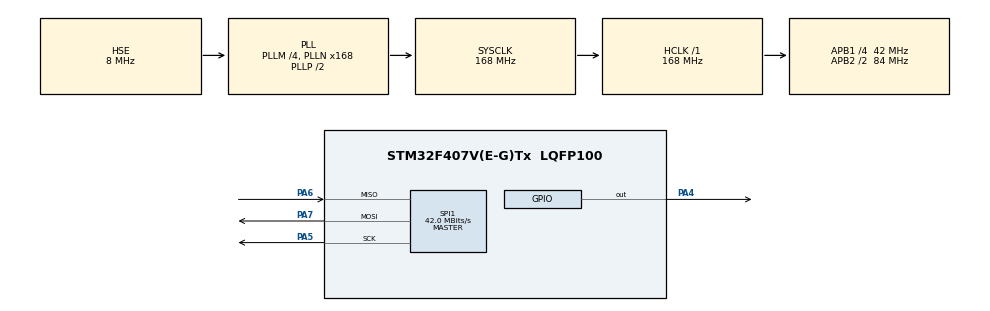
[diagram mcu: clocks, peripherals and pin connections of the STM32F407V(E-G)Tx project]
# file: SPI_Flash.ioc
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FATFS._MAX_SS=4096
Mcu.Family=STM32F4
Mcu.Name=STM32F407V(E-G)Tx
Mcu.Package=LQFP100
NVIC.PriorityGroup=NVIC_PRIORITYGROUP_4
PA13.Mode=Serial_Wire
PA13.Signal=SYS_JTMS-SWDIO
PA14.Mode=Serial_Wire
PA14.Signal=SYS_JTCK-SWCLK
PA4.Signal=GPIO_Output
PA5.Mode=Full_Duplex_Master
PA5.Signal=SPI1_SCK
PA6.Mode=Full_Duplex_Master
PA6.Signal=SPI1_MISO
PA7.Mode=Full_Duplex_Master
PA7.Signal=SPI1_MOSI
PH0-OSC_IN.Mode=HSE-External-Oscillator
PH0-OSC_IN.Signal=RCC_OSC_IN
PH1-OSC_OUT.Mode=HSE-External-Oscillator
PH1-OSC_OUT.Signal=RCC_OSC_OUT
ProjectManager.HeapSize=0x200
ProjectManager.StackSize=0x400
ProjectManager.TargetToolchain=STM32CubeIDE
RCC.48MHZClocksFreq_Value=84000000
RCC.AHBFreq_Value=168000000
RCC.APB1CLKDivider=RCC_HCLK_DIV4
RCC.APB1Freq_Value=42000000
RCC.APB1TimFreq_Value=84000000
RCC.APB2CLKDivider=RCC_HCLK_DIV2
RCC.APB2Freq_Value=84000000
RCC.APB2TimFreq_Value=168000000
RCC.CortexFreq_Value=168000000
RCC.HCLKFreq_Value=168000000
RCC.HSE_VALUE=8000000
RCC.HSI_VALUE=16000000
RCC.LSE_VALUE=32768
RCC.PLLM=4
RCC.PLLN=168
RCC.PLLSourceVirtual=RCC_PLLSOURCE_HSE
RCC.SYSCLKFreq_VALUE=168000000
RCC.SYSCLKSource=RCC_SYSCLKSOURCE_PLLCLK
RCC.VCOOutputFreq_Value=336000000
SPI1.CalculateBaudRate=42.0 MBits/s
SPI1.Direction=SPI_DIRECTION_2LINES
SPI1.Mode=SPI_MODE_MASTER
SPI1.VirtualType=VM_MASTER
VP_FATFS_VS_Generic.Mode=User_defined
board=custom

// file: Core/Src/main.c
/* USER CODE BEGIN Header */
/**
  ******************************************************************************
  * @file           : main.c
  * @brief          : Main program body
  ******************************************************************************
  * @attention
  *
  * Copyright (c) 2024 STMicroelectronics.
  * All rights reserved.
  *
  * This software is licensed under terms that can be found in the LICENSE file
  * in the root directory of this software component.
  * If no LICENSE file comes with this software, it is provided AS-IS.
  *
  ******************************************************************************
  */
/* USER CODE END Header */
#include "main.h"
#include "fatfs.h"

/* USER CODE BEGIN Includes */
#include "spi_flash.h"
#include "ff_gen_drv.h"
/* USER CODE END Includes */

SPI_HandleTypeDef hspi1;

/* USER CODE BEGIN PV */
FATFS 		FatFs;
FRESULT 	fres;
FIL 		SFLASHPath[];
char buffer[4096];
char str[100] = {"STM32 ile SPI Flash Uygulamasi v1.0\0"};
int brw;
/* USER CODE END PV */

void SystemClock_Config(void);
static void MX_GPIO_Init(void);
static void MX_SPI1_Init(void);

int main(void)
{

  /* MCU Configuration--------------------------------------------------------*/

  /* Reset of all peripherals, Initializes the Flash interface and the Systick. */
  HAL_Init();

  /* Configure the system clock */
  SystemClock_Config();

  /* Initialize all configured peripherals */
  MX_GPIO_Init();
  MX_SPI1_Init();
  MX_FATFS_Init();
  /* USER CODE BEGIN 2 */
  HAL_Delay(100);

  //format drive
  fres = f_mkfs("", FM_ANY, 0, buffer, sizeof(buffer));

  FATFS_LinkDriver(&USER_Driver, SFLASHPath);

  //mount device

  fres = f_mount(&FatFs, &SFLASHPath, 0);
  if(fres != FR_OK)
  {
	  while(1);
  }

  fres = f_open(&SFLASHPath, "test.txt", FA_CREATE_ALWAYS | FA_WRITE);
  if(fres != FR_OK)
   {
  	  while(1);
   }
  else
  {
	  fres = f_write(&SFLASHPath, &str, sizeof(str), brw);
  }
  f_close(&SFLASHPath);

  fres = f_open(&SFLASHPath, "test.txt", FA_READ);
  if(fres != FR_OK)
   {
    	  while(1);
   }
  else
  {
	  fres = f_read(&SFLASHPath, &buffer, 50, &brw);
  }
  f_close(&SFLASHPath);

  /* USER CODE END 2 */

  /* Infinite loop */
  while (1)
  {

  }
}

void SystemClock_Config(void)
{
  RCC_OscInitTypeDef RCC_OscInitStruct = {0};
  RCC_ClkInitTypeDef RCC_ClkInitStruct = {0};

  /** Configure the main internal regulator output voltage
  */
  __HAL_RCC_PWR_CLK_ENABLE();
  __HAL_PWR_VOLTAGESCALING_CONFIG(PWR_REGULATOR_VOLTAGE_SCALE1);

  /** Initializes the RCC Oscillators according to the specified parameters
  * in the RCC_OscInitTypeDef structure.
  */
  RCC_OscInitStruct.OscillatorType = RCC_OSCILLATORTYPE_HSE;
  RCC_OscInitStruct.HSEState = RCC_HSE_ON;
  RCC_OscInitStruct.PLL.PLLState = RCC_PLL_ON;
  RCC_OscInitStruct.PLL.PLLSource = RCC_PLLSOURCE_HSE;
  RCC_OscInitStruct.PLL.PLLM = 4;
  RCC_OscInitStruct.PLL.PLLN = 168;
  RCC_OscInitStruct.PLL.PLLP = RCC_PLLP_DIV2;
  RCC_OscInitStruct.PLL.PLLQ = 4;
  if (HAL_RCC_OscConfig(&RCC_OscInitStruct) != HAL_OK)
  {
    Error_Handler();
  }

  /** Initializes the CPU, AHB and APB buses clocks
  */
  RCC_ClkInitStruct.ClockType = RCC_CLOCKTYPE_HCLK|RCC_CLOCKTYPE_SYSCLK
                              |RCC_CLOCKTYPE_PCLK1|RCC_CLOCKTYPE_PCLK2;
  RCC_ClkInitStruct.SYSCLKSource = RCC_SYSCLKSOURCE_PLLCLK;
  RCC_ClkInitStruct.AHBCLKDivider = RCC_SYSCLK_DIV1;
  RCC_ClkInitStruct.APB1CLKDivider = RCC_HCLK_DIV4;
  RCC_ClkInitStruct.APB2CLKDivider = RCC_HCLK_DIV2;

  if (HAL_RCC_ClockConfig(&RCC_ClkInitStruct, FLASH_LATENCY_5) != HAL_OK)
  {
    Error_Handler();
  }
}

static void MX_SPI1_Init(void)
{

  /* SPI1 parameter configuration*/
  hspi1.Instance = SPI1;
  hspi1.Init.Mode = SPI_MODE_MASTER;
  hspi1.Init.Direction = SPI_DIRECTION_2LINES;
  hspi1.Init.DataSize = SPI_DATASIZE_8BIT;
  hspi1.Init.CLKPolarity = SPI_POLARITY_LOW;
  hspi1.Init.CLKPhase = SPI_PHASE_1EDGE;
  hspi1.Init.NSS = SPI_NSS_SOFT;
  hspi1.Init.BaudRatePrescaler = SPI_BAUDRATEPRESCALER_2;
  hspi1.Init.FirstBit = SPI_FIRSTBIT_MSB;
  hspi1.Init.TIMode = SPI_TIMODE_DISABLE;
  hspi1.Init.CRCCalculation = SPI_CRCCALCULATION_DISABLE;
  hspi1.Init.CRCPolynomial = 10;
  if (HAL_SPI_Init(&hspi1) != HAL_OK)
  {
    Error_Handler();
  }

}

static void MX_GPIO_Init(void)
{
  GPIO_InitTypeDef GPIO_InitStruct = {0};

  /* GPIO Ports Clock Enable */
  __HAL_RCC_GPIOH_CLK_ENABLE();
  __HAL_RCC_GPIOA_CLK_ENABLE();

  /*Configure GPIO pin Output Level */
  HAL_GPIO_WritePin(GPIOA, GPIO_PIN_4, GPIO_PIN_RESET);

  /*Configure GPIO pin : PA4 */
  GPIO_InitStruct.Pin = GPIO_PIN_4;
  GPIO_InitStruct.Mode = GPIO_MODE_OUTPUT_PP;
  GPIO_InitStruct.Pull = GPIO_NOPULL;
  GPIO_InitStruct.Speed = GPIO_SPEED_FREQ_LOW;
  HAL_GPIO_Init(GPIOA, &GPIO_InitStruct);

}

void Error_Handler(void)
{
  __disable_irq();
  while (1)
  {
  }
}
